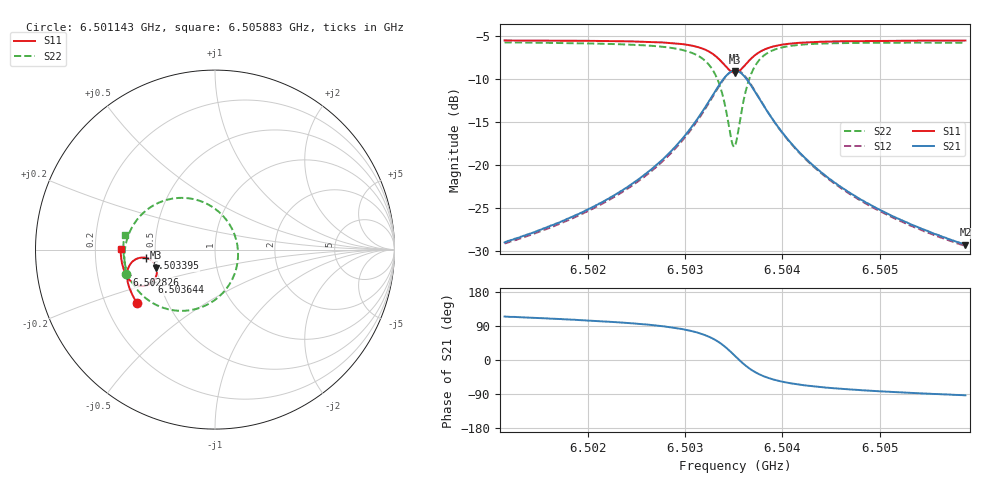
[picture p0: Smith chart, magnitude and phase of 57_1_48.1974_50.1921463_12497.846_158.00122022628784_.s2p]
#  HZ  S  RI  R  50.00
! Rohde & Schwarz Vector Network Analyzer
! Rohde-Schwarz,ZNB20-2Port,1311601062101988,3.16
! Created: UTC 3/20/2024, 11:38:36 AM
! freq[Hz]  re:S11  im:S11  re:S21  im:S21  re:S12  im:S12  re:S22  im:S22
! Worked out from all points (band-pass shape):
!   401 points, 6.501143 GHz to 6.505883 GHz, reference 50 ohm
!   highest |S21| = -9.08 dB at 6.503513 GHz (marker M1); lowest = -29.3 dB at 6.505883 GHz (marker M2)
!   |S21| within 3 dB of the highest: 6.503276 GHz to 6.50375 GHz (474.3 kHz wide, 0.00729 % of centre)
!   lowest |S11| = -9.3 dB at 6.503513 GHz (marker M3), VSWR 2.04, Z = 24.9 - j5.7 ohm
!   |S11| at or under -10 dB: nowhere
!   |S22| runs from -17.9 to -5.8 dB; largest |S21 - S12| = 0.012
!   S11 on the Smith chart (normalised r, x): 6.501143 GHz: 0.34, -0.28; 6.502826 GHz: 0.33, -0.13; 6.503395 GHz: 0.45, -0.05; 6.503644 GHz: 0.46, -0.20; 6.505883 GHz: 0.31, +0.00
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6.5011431e9  -0.4349 -0.2967  -0.0148 0.0322  -0.013 0.0324  -0.4948 -0.1355
6.5019371e9  -0.4678 -0.2363  -0.0138 0.051  -0.0114 0.0505  -0.5046 -0.0475
6.5023519e9  -0.4818 -0.1983  -0.0108 0.0701  -0.00774 0.0688  -0.4998 0.0144
6.5027311e9  -0.49 -0.1546  -0.000537 0.1027  0.00315 0.1001  -0.4767 0.0948
6.5028259e9  -0.4903 -0.1412  0.00531 0.1153  0.00913 0.1121  -0.4638 0.1217
6.5030274e9  -0.4846 -0.1065  0.0304 0.152  0.0341 0.1472  -0.4117 0.1926
6.5031696e9  -0.4682 -0.076  0.072 0.1869  0.0746 0.1807  -0.3312 0.2527
6.5032999e9  -0.4306 -0.0489  0.1524 0.2131  0.1528 0.2066  -0.185 0.2882
6.5033948e9  -0.3822 -0.0469  0.2472 0.195  0.2471 0.1903  -0.0206 0.2415
6.5034777e9  -0.3379 -0.0778  0.3276 0.1166  0.3302 0.1125  0.1077 0.0866
6.5035133e9  -0.3269 -0.1009  0.3454 0.0658  0.3493 0.0604  0.1282 -0.00896
6.503537e9  -0.324 -0.1179  0.3486 0.0299  0.3528 0.023  0.125 -0.075
6.5035725e9  -0.3263 -0.1429  0.3405 -0.0221  0.3442 -0.0312  0.0953 -0.1672
6.5036436e9  -0.3496 -0.1815  0.2912 -0.1007  0.2912 -0.1126  -0.0206 -0.2941
6.5037384e9  -0.3918 -0.2017  0.21 -0.1446  0.2049 -0.1552  -0.1863 -0.3413
6.5038095e9  -0.4187 -0.2017  0.1607 -0.1498  0.1538 -0.1579  -0.2784 -0.3276
6.5038925e9  -0.4423 -0.1944  0.1191 -0.1434  0.1114 -0.149  -0.3519 -0.2947
6.5040584e9  -0.4723 -0.1733  0.0696 -0.1215  0.0628 -0.124  -0.432 -0.2251
6.5043073e9  -0.4951 -0.1421  0.0355 -0.0937  0.0306 -0.0942  -0.4807 -0.1455
6.5046628e9  -0.511 -0.1037  0.0157 -0.0688  0.0122 -0.0685  -0.5041 -0.0689
6.5051013e9  -0.5206 -0.0621  0.00545 -0.0511  0.00304 -0.0504  -0.5108 -0.00299
6.5058834e9  -0.526 0.00508  -0.00197 -0.0343  -0.00333 -0.0335  -0.5039 0.0833
